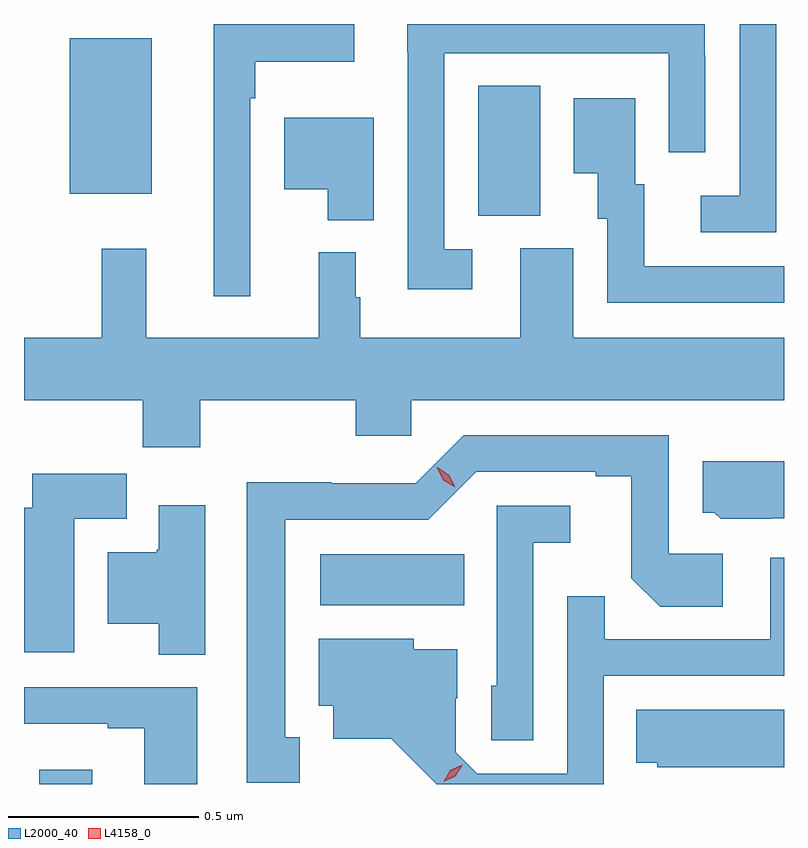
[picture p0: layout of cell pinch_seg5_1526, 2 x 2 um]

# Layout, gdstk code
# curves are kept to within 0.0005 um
import gdstk
lib = gdstk.Library(unit=1e-6, precision=1e-09)
def R(c, l, rs):  # rectangles x0, y0, x1, y1
    for r in rs: c.add(gdstk.rectangle(r[:2], r[2:], *l))
def P(c, l, *ps):  # polygons
    for p in ps: c.add(gdstk.Polygon(p, *l))
L2000_40 = (2000, 40)
L4158_0 = (4158, 0)

pinch_seg5_1526 = lib.new_cell('pinch_seg5_1526')
R(pinch_seg5_1526, L2000_40, [(123.983,887.718,124.123,887.755), (124.722,888.188,125.102,888.322), (125.138,889.213,125.302,889.556), (124.064,889.271,124.279,889.681)])
P(pinch_seg5_1526, L2000_40, [(125.122,889.125),(125.049,889.125),(125.049,889.641),(125.64,889.641),(125.64,889.38),(125.736,889.38),(125.736,889.634),(125.735,889.634),(125.735,889.718),(124.952,889.718),(124.952,889.644),(124.953,889.644),(124.953,889.02),(125.122,889.02)],
  [(124.539,889.523),(124.552,889.523),(124.552,889.619),(124.812,889.619),(124.812,889.718),(124.442,889.718),(124.442,889.002),(124.539,889.002)],
  [(125.922,889.627),(125.923,889.627),(125.923,889.718),(125.826,889.718),(125.826,889.266),(125.724,889.266),(125.724,889.17),(125.922,889.17)],
  [(125.943,889.08),(125.575,889.08),(125.575,889.296),(125.551,889.296),(125.551,889.522),(125.39,889.522),(125.39,889.325),(125.453,889.325),(125.453,889.206),(125.478,889.206),(125.478,888.984),(125.943,888.984)],
  [(124.864,889.471),(124.628,889.471),(124.628,889.283),(124.742,889.283),(124.742,889.202),(124.864,889.202)],
  [(124.407,888.728),(124.816,888.728),(124.816,888.635),(124.962,888.635),(124.962,888.728),(125.943,888.728),(125.943,888.892),(125.389,888.892),(125.389,889.128),(125.249,889.128),(125.249,888.892),(124.828,888.892),(124.828,888.999),(124.816,888.999),(124.816,889.117),(124.718,889.117),(124.718,888.892),(124.265,888.892),(124.265,889.126),(124.147,889.126),(124.147,888.892),(123.943,888.892),(123.943,888.728),(124.255,888.728),(124.255,888.604),(124.407,888.604)],
  [(124.669,887.841),(124.63,887.841),(124.63,888.414),(125.007,888.414),(125.133,888.54),(125.447,888.54),(125.447,888.528),(125.541,888.528),(125.541,888.26),(125.617,888.184),(125.782,888.184),(125.782,888.324),(125.64,888.324),(125.64,888.636),(125.1,888.636),(124.974,888.51),(124.752,888.51),(124.752,888.512),(124.529,888.512),(124.529,887.721),(124.669,887.721)],
  [(125.91,888.417),(125.943,888.417),(125.943,888.568),(125.729,888.568),(125.729,888.432),(125.76,888.432),(125.776,888.416),(125.91,888.416)],
  [(124.075,888.416),(124.213,888.416),(124.213,888.534),(123.965,888.534),(123.965,888.445),(123.943,888.445),(123.943,888.065),(124.075,888.065)],
  [(124.42,888.451),(124.298,888.451),(124.298,888.334),(124.292,888.334),(124.292,888.328),(124.163,888.328),(124.163,888.14),(124.298,888.14),(124.298,888.058),(124.42,888.058)],
  [(125.283,888.353),(125.38,888.353),(125.38,888.45),(125.187,888.45),(125.187,887.976),(125.172,887.976),(125.172,887.833),(125.283,887.833)],
  [(125.469,888.003),(125.943,888.003),(125.943,888.313),(125.907,888.313),(125.907,888.099),(125.471,888.099),(125.471,888.212),(125.373,888.212),(125.373,887.745),(125.136,887.745),(125.079,887.802),(125.079,887.944),(125.083,887.944),(125.083,888.073),(124.968,888.073),(124.968,888.1),(124.718,888.1),(124.718,887.924),(124.757,887.924),(124.757,887.837),(124.909,887.837),(125.029,887.718),(125.469,887.718)],
  [(124.399,887.973),(123.943,887.973),(123.943,887.877),(124.163,887.877),(124.163,887.865),(124.259,887.865),(124.259,887.718),(124.399,887.718)],
  [(125.943,887.914),(125.554,887.914),(125.554,887.774),(125.61,887.774),(125.61,887.762),(125.943,887.762)])
P(pinch_seg5_1526, L4158_0, [(125.047,887.724),(125.047,887.724),(125.065,887.754),(125.096,887.769),(125.096,887.769),(125.096,887.768),(125.078,887.739),(125.047,887.724)],
  [(125.078,888.499),(125.046,888.518),(125.029,888.551),(125.029,888.551),(125.03,888.551),(125.061,888.532),(125.078,888.499),(125.078,888.499)])

lib.write_gds('pinch_seg5_1526.gds')
